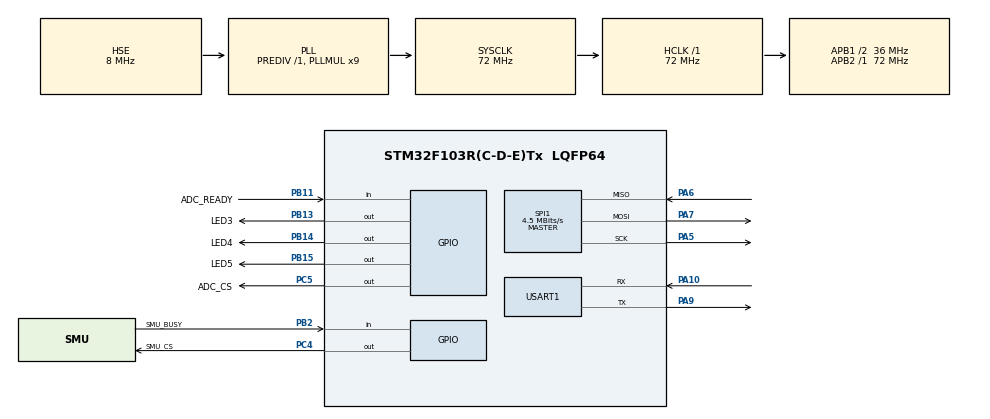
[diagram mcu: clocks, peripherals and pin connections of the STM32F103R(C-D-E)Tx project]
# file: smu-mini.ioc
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Dma.Request0=USART1_RX
Dma.USART1_RX.0.Direction=DMA_PERIPH_TO_MEMORY
Dma.USART1_RX.0.Instance=DMA1_Channel5
Dma.USART1_RX.0.MemDataAlignment=DMA_MDATAALIGN_BYTE
Dma.USART1_RX.0.MemInc=DMA_MINC_ENABLE
Dma.USART1_RX.0.Mode=DMA_CIRCULAR
Dma.USART1_RX.0.PeriphDataAlignment=DMA_PDATAALIGN_BYTE
Dma.USART1_RX.0.PeriphInc=DMA_PINC_DISABLE
Dma.USART1_RX.0.Priority=DMA_PRIORITY_LOW
FREERTOS.Tasks01=defaultTask,24,128,StartDefaultTask,Default,NULL,Dynamic,NULL,NULL;myTask01,8,128,StartTask01,Default,NULL,Dynamic,NULL,NULL
Mcu.Family=STM32F1
Mcu.Name=STM32F103R(C-D-E)Tx
Mcu.Package=LQFP64
NVIC.DMA1_Channel5_IRQn=true\:5\:0\:false\:false\:true\:true\:false\:true\:true
NVIC.PriorityGroup=NVIC_PRIORITYGROUP_4
NVIC.TIM7_IRQn=true\:15\:0\:false\:false\:true\:false\:false\:true\:true
NVIC.TimeBase=TIM7_IRQn
NVIC.TimeBaseIP=TIM7
NVIC.USART1_IRQn=true\:5\:0\:false\:false\:true\:true\:true\:true\:true
PA10.Mode=Asynchronous
PA10.Signal=USART1_RX
PA13.Mode=Serial_Wire
PA13.Signal=SYS_JTMS-SWDIO
PA14.Mode=Serial_Wire
PA14.Signal=SYS_JTCK-SWCLK
PA5.Mode=Full_Duplex_Master
PA5.Signal=SPI1_SCK
PA6.Mode=Full_Duplex_Master
PA6.Signal=SPI1_MISO
PA7.Mode=Full_Duplex_Master
PA7.Signal=SPI1_MOSI
PA9.Mode=Asynchronous
PA9.Signal=USART1_TX
PB11.GPIO_Label=ADC_READY
PB11.Signal=GPIO_Input
PB13.GPIO_Label=LED3
PB13.Signal=GPIO_Output
PB14.GPIO_Label=LED4
PB14.Signal=GPIO_Output
PB15.GPIO_Label=LED5
PB15.Signal=GPIO_Output
PB2.GPIO_Label=SMU_BUSY
PB2.Signal=GPIO_Input
PC4.GPIO_Label=SMU_CS
PC4.Signal=GPIO_Output
PC5.GPIO_Label=ADC_CS
PC5.Signal=GPIO_Output
PD0-OSC_IN.Mode=HSE-External-Oscillator
PD0-OSC_IN.Signal=RCC_OSC_IN
PD1-OSC_OUT.Mode=HSE-External-Oscillator
PD1-OSC_OUT.Signal=RCC_OSC_OUT
ProjectManager.HeapSize=0x200
ProjectManager.StackSize=0x400
ProjectManager.TargetToolchain=CMake
RCC.AHBFreq_Value=72000000
RCC.APB1CLKDivider=RCC_HCLK_DIV2
RCC.APB1Freq_Value=36000000
RCC.APB1TimFreq_Value=72000000
RCC.APB2Freq_Value=72000000
RCC.APB2TimFreq_Value=72000000
RCC.HCLKFreq_Value=72000000
RCC.PLLMUL=RCC_PLL_MUL9
RCC.PLLSourceVirtual=RCC_PLLSOURCE_HSE
RCC.SYSCLKFreq_VALUE=72000000
RCC.SYSCLKSource=RCC_SYSCLKSOURCE_PLLCLK
RCC.USBFreq_Value=72000000
SPI1.BaudRatePrescaler=SPI_BAUDRATEPRESCALER_16
SPI1.CLKPhase=SPI_PHASE_2EDGE
SPI1.CalculateBaudRate=4.5 MBits/s
SPI1.Direction=SPI_DIRECTION_2LINES
SPI1.Mode=SPI_MODE_MASTER
SPI1.VirtualType=VM_MASTER
USART1.VirtualMode=VM_ASYNC
VP_FREERTOS_VS_CMSIS_V2.Mode=CMSIS_V2
VP_SYS_VS_tim7.Mode=TIM7
board=custom

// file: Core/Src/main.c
/* USER CODE BEGIN Header */
/**
  ******************************************************************************
  * @file           : main.c
  * @brief          : Main program body
  ******************************************************************************
  * @attention
  *
  * Copyright (c) 2025 STMicroelectronics.
  * All rights reserved.
  *
  * This software is licensed under terms that can be found in the LICENSE file
  * in the root directory of this software component.
  * If no LICENSE file comes with this software, it is provided AS-IS.
  *
  ******************************************************************************
  */
/* USER CODE END Header */
#include "main.h"
#include "cmsis_os.h"

/* USER CODE BEGIN Includes */
#include <stdio.h>
#include "semphr.h"
#include "AD5522.h"
#include "ad7190.h"
#include "dev_uart.h"
#include "scpi/scpi.h"
#include "scpi-def.h"
/* USER CODE END Includes */

/* USER CODE BEGIN PD */
#define UART_BUF_SIZE 256
/* USER CODE END PD */

SPI_HandleTypeDef hspi1;

UART_HandleTypeDef huart1;
DMA_HandleTypeDef hdma_usart1_rx;

/* Definitions for defaultTask */
osThreadId_t defaultTaskHandle;
const osThreadAttr_t defaultTask_attributes = {
  .name = "defaultTask",
  .stack_size = 512 * 4,
  .priority = (osPriority_t) osPriorityNormal,
};
/* Definitions for myTask01 */
osThreadId_t myTask01Handle;
const osThreadAttr_t myTask01_attributes = {
  .name = "myTask01",
  .stack_size = 128 * 4,
  .priority = (osPriority_t) osPriorityLow,
};
/* USER CODE BEGIN PV */
SemaphoreHandle_t semaphore_scpi;
SemaphoreHandle_t semaphore_spi1;

static void AD7190_SPI1_Init(void)
{
  hspi1.Instance = SPI1;
  hspi1.Init.Mode = SPI_MODE_MASTER;
  hspi1.Init.Direction = SPI_DIRECTION_2LINES;
  hspi1.Init.DataSize = SPI_DATASIZE_8BIT;
  hspi1.Init.CLKPolarity = SPI_POLARITY_HIGH;
  hspi1.Init.CLKPhase = SPI_PHASE_2EDGE;
  hspi1.Init.NSS = SPI_NSS_SOFT;
  hspi1.Init.BaudRatePrescaler = SPI_BAUDRATEPRESCALER_16;
  hspi1.Init.FirstBit = SPI_FIRSTBIT_MSB;
  hspi1.Init.TIMode = SPI_TIMODE_DISABLE;
  hspi1.Init.CRCCalculation = SPI_CRCCALCULATION_DISABLE;
  hspi1.Init.CRCPolynomial = 10;
  if (HAL_SPI_Init(&hspi1) != HAL_OK)
  {
    Error_Handler();
  }
}
/* USER CODE END PV */

void SystemClock_Config(void);
static void MX_GPIO_Init(void);
static void MX_DMA_Init(void);
static void MX_SPI1_Init(void);
static void MX_USART1_UART_Init(void);
void StartDefaultTask(void *argument);
void StartTask01(void *argument);

/* USER CODE BEGIN PFP */
#ifdef __GNUC__
#define PUTCHAR_PROTOTYPE int __io_putchar(int ch)
#else
#define PUTCHAR_PROTOTYPE int fputc(int ch, FILE *f)
#endif

PUTCHAR_PROTOTYPE
{
  // HAL_UART_Transmit(&huart1, (uint8_t *)&ch, 1, HAL_MAX_DELAY);
  return ch;
}

handle_AD5522 h_PMU;
void AD5522_in(void) {
  xSemaphoreTake(semaphore_spi1, portMAX_DELAY);
  HAL_SPI_DeInit(&hspi1);
  MX_SPI1_Init();
}
void AD5522_out(void) {
  xSemaphoreGive(semaphore_spi1);
}

// 将 clk 的电平切换到 High
void SPI_Send_Nop() {
  const uint8_t nop_data = 0;
  HAL_SPI_Transmit(&hspi1, &nop_data, 1, 1000);
}
void AD7190_CS_Low() {
  HAL_GPIO_WritePin(ADC_CS_GPIO_Port, ADC_CS_Pin, GPIO_PIN_RESET);
}
void AD7190_CS_High() {
  HAL_GPIO_WritePin(ADC_CS_GPIO_Port, ADC_CS_Pin, GPIO_PIN_SET);
}
void AD7190_Spi_WriteByte(uint8_t cmd) {
  HAL_SPI_Transmit(&hspi1, &cmd,1,1000);
}
uint8_t AD7190_Spi_ReadByte() {
  uint8_t val=0;
  int resp = HAL_SPI_TransmitReceive(&hspi1, 0x00, &val,1,1000);
  if (resp != HAL_OK) {
    return 0;
  }
  return val;
}
void AD7190_Spi_Write(uint8_t* cmd, uint16_t len){
  HAL_SPI_Transmit(&hspi1, cmd, len, 1000);
}
void AD7190_Spi_Read(uint8_t* cmd, uint16_t len) {
  for (int i=0;i<len;i++) {
    uint8_t send = cmd[i];
    uint8_t read = 0;
    int resp = HAL_SPI_TransmitReceive(&hspi1, &send, &read, 1, 1000);
    if (resp != HAL_OK) {
      return;
    }
    cmd[i] = read;
  }
}
bool AD7190_CheckDataReadyPin(void) {
  return HAL_GPIO_ReadPin(ADC_READY_GPIO_Port, ADC_READY_Pin);
}
void AD7190_Delay_ms(uint32_t ms) {
  osDelay(ms);
}
AD7190_SpiDriver_Typedef h_ad7190 = {
  .AD7190_CS_Low = AD7190_CS_Low,
  .AD7190_CS_High = AD7190_CS_High,
  .AD7190_Spi_WriteByte = AD7190_Spi_WriteByte,
  .AD7190_Spi_ReadByte = AD7190_Spi_ReadByte,
  .AD7190_Spi_Write = AD7190_Spi_Write,
  .AD7190_Spi_Read = AD7190_Spi_Read,
  .AD7190_CheckDataReadyPin = AD7190_CheckDataReadyPin,
  .AD7190_Delay_ms = AD7190_Delay_ms
};
uint32_t ad7190_val[4];

uint8_t uart1_tx_buf[UART_BUF_SIZE];
uint8_t uart1_rx_buf[UART_BUF_SIZE];

void HAL_UARTEx_RxEventCallback(UART_HandleTypeDef *huart, uint16_t Size) {
  if (huart->Instance == USART1) {
    if (HAL_UART_RXEVENT_TC == HAL_UARTEx_GetRxEventType(&huart1)) {
      // sprintf(uart1_tx_buf, "rx_event_tc%d", Size);
      // HAL_UART_Transmit(&huart1, (uint8_t *)uart1_tx_buf, strlen(uart1_tx_buf)+1, 100);
      uart_dmarx_done_isr(DEV_UART1);
    } else if (HAL_UART_RXEVENT_HT == HAL_UARTEx_GetRxEventType(&huart1)) {
      // sprintf(uart1_tx_buf, "rx_event_ht%d", Size);
      // HAL_UART_Transmit(&huart1, (uint8_t *)uart1_tx_buf, strlen(uart1_tx_buf)+1, 100);
      uart_dmarx_half_done_isr(DEV_UART1, Size);
    } else if (HAL_UART_RXEVENT_IDLE == HAL_UARTEx_GetRxEventType(&huart1)) {
      // sprintf(uart1_tx_buf, "rx_event_idle%d", Size);
      // HAL_UART_Transmit(&huart1, (uint8_t *)uart1_tx_buf, strlen(uart1_tx_buf)+1, 100);
      uart_dmarx_idle_isr(DEV_UART1, Size);
    }
  }
}

size_t SCPI_Write(scpi_t * context, const char * data, size_t len) {
    (void) context;
    if (HAL_OK == HAL_UART_Transmit(&huart1, (uint8_t *)data, len, 1000)) {
      return len;
    } else {
      return 0;
    }
}

scpi_result_t SCPI_Flush(scpi_t * context) {
    (void) context;
    return SCPI_RES_OK;
}

int SCPI_Error(scpi_t * context, int_fast16_t err) {
    (void) context;

    char _err[50];
    sprintf(_err, "**ERROR: %d, \"%s\"\r\n", (int16_t) err, SCPI_ErrorTranslate(err));
    HAL_UART_Transmit(&huart1, (uint8_t *)_err, strlen(_err), 1000);
    return 0;
}

scpi_result_t SCPI_Control(scpi_t * context, scpi_ctrl_name_t ctrl, scpi_reg_val_t val) {
    (void) context;

    char _err[50];
    if (SCPI_CTRL_SRQ == ctrl) {
        sprintf(_err, "**SRQ: 0x%X (%d)\r\n", val, val);
    } else {
        sprintf(_err, "**CTRL %02x: 0x%X (%d)\r\n", ctrl, val, val);
    }
    HAL_UART_Transmit(&huart1, (uint8_t *)_err, strlen(_err), 1000);

    return SCPI_RES_OK;
}

scpi_result_t SCPI_Reset(scpi_t * context) {
    (void) context;

    char _err[50];
    sprintf(_err, "**Reset\r\n");
    HAL_UART_Transmit(&huart1, (uint8_t *)_err, strlen(_err), 1000);

    return SCPI_RES_OK;
}

scpi_result_t SCPI_SystemCommTcpipControlQ(scpi_t * context) {
    (void) context;

    return SCPI_RES_ERR;
}
/* USER CODE END PFP */

int main(void)
{

  /* USER CODE BEGIN 1 */
  semaphore_scpi = xSemaphoreCreateMutex();
  semaphore_spi1 = xSemaphoreCreateMutex();
  /* USER CODE END 1 */

  /* MCU Configuration--------------------------------------------------------*/

  /* Reset of all peripherals, Initializes the Flash interface and the Systick. */
  HAL_Init();

  /* Configure the system clock */
  SystemClock_Config();

  /* Initialize all configured peripherals */
  MX_GPIO_Init();
  MX_DMA_Init();
  MX_SPI1_Init();
  MX_USART1_UART_Init();
  /* USER CODE BEGIN 2 */
  uart_device_init(DEV_UART1);
  printf("Characters: %c %c\n", 'a', 65);
  printf("Decimals: %d %ld\n", 1977, 650000L);
  printf("Preceding with blanks: %10d\n", 1977);
  printf("Preceding with zeros: %010d\n", 1977);
  printf("Some different radices: %d %x %o %#x %#o\n", 100, 100, 100, 100, 100);
  printf("floats: %4.2f %+.0e %E\n", 3.1416, 3.1416, 3.1416);
  printf("Width trick: %*d\n", 5, 10);
  printf("%s\n", "A string");

  //----------------------------AD5522 Init-----------------------------
  HAL_SPI_DeInit(&hspi1);
  MX_SPI1_Init();
  AD5522_init(&h_PMU,&hspi1,5.0);
  AD5522_Calibrate(&h_PMU);
  AD5522_StartHiZMV(&h_PMU,PMU_CH_1|PMU_CH_2|PMU_CH_3) ;//configure CH2/3 to monitor voltage only
  // AD5522_SetClamp(&h_PMU,PMU_CH_0|PMU_CH_1,32767-30000,32767+30000,0,65535,PMU_DAC_SCALEID_EXT);
  AD5522_SetClamp_float(&h_PMU,PMU_CH_0,-80e-3,80e-3,-11.5,11.5,PMU_DAC_SCALEID_2MA);
  AD5522_StartFVMI(&h_PMU,PMU_CH_0,PMU_DAC_SCALEID_2MA);
  // AD5522_StartFIMV(&h_PMU,PMU_CH_0|PMU_CH_1,PMU_DAC_SCALEID_200UA);
  // AD5522_SetOutputVoltage_float(&h_PMU,PMU_CH_0,-1.2);
  /* USER CODE END 2 */

  /* Init scheduler */
  osKernelInitialize();

  /* Create the thread(s) */
  /* creation of defaultTask */
  defaultTaskHandle = osThreadNew(StartDefaultTask, NULL, &defaultTask_attributes);

  /* creation of myTask01 */
  myTask01Handle = osThreadNew(StartTask01, NULL, &myTask01_attributes);

  /* Start scheduler */
  osKernelStart();

  /* We should never get here as control is now taken by the scheduler */

  /* Infinite loop */
  while (1)
  {

  }
}

void SystemClock_Config(void)
{
  RCC_OscInitTypeDef RCC_OscInitStruct = {0};
  RCC_ClkInitTypeDef RCC_ClkInitStruct = {0};

  /** Initializes the RCC Oscillators according to the specified parameters
  * in the RCC_OscInitTypeDef structure.
  */
  RCC_OscInitStruct.OscillatorType = RCC_OSCILLATORTYPE_HSE;
  RCC_OscInitStruct.HSEState = RCC_HSE_ON;
  RCC_OscInitStruct.HSEPredivValue = RCC_HSE_PREDIV_DIV1;
  RCC_OscInitStruct.HSIState = RCC_HSI_ON;
  RCC_OscInitStruct.PLL.PLLState = RCC_PLL_ON;
  RCC_OscInitStruct.PLL.PLLSource = RCC_PLLSOURCE_HSE;
  RCC_OscInitStruct.PLL.PLLMUL = RCC_PLL_MUL9;
  if (HAL_RCC_OscConfig(&RCC_OscInitStruct) != HAL_OK)
  {
    Error_Handler();
  }

  /** Initializes the CPU, AHB and APB buses clocks
  */
  RCC_ClkInitStruct.ClockType = RCC_CLOCKTYPE_HCLK|RCC_CLOCKTYPE_SYSCLK
                              |RCC_CLOCKTYPE_PCLK1|RCC_CLOCKTYPE_PCLK2;
  RCC_ClkInitStruct.SYSCLKSource = RCC_SYSCLKSOURCE_PLLCLK;
  RCC_ClkInitStruct.AHBCLKDivider = RCC_SYSCLK_DIV1;
  RCC_ClkInitStruct.APB1CLKDivider = RCC_HCLK_DIV2;
  RCC_ClkInitStruct.APB2CLKDivider = RCC_HCLK_DIV1;

  if (HAL_RCC_ClockConfig(&RCC_ClkInitStruct, FLASH_LATENCY_2) != HAL_OK)
  {
    Error_Handler();
  }
}

static void MX_SPI1_Init(void)
{

  /* SPI1 parameter configuration*/
  hspi1.Instance = SPI1;
  hspi1.Init.Mode = SPI_MODE_MASTER;
  hspi1.Init.Direction = SPI_DIRECTION_2LINES;
  hspi1.Init.DataSize = SPI_DATASIZE_8BIT;
  hspi1.Init.CLKPolarity = SPI_POLARITY_LOW;   // 非常重要! AD5522使用LOW; AD7190使用HIGH
  hspi1.Init.CLKPhase = SPI_PHASE_2EDGE;
  hspi1.Init.NSS = SPI_NSS_SOFT;
  hspi1.Init.BaudRatePrescaler = SPI_BAUDRATEPRESCALER_16;
  hspi1.Init.FirstBit = SPI_FIRSTBIT_MSB;
  hspi1.Init.TIMode = SPI_TIMODE_DISABLE;
  hspi1.Init.CRCCalculation = SPI_CRCCALCULATION_DISABLE;
  hspi1.Init.CRCPolynomial = 10;
  if (HAL_SPI_Init(&hspi1) != HAL_OK)
  {
    Error_Handler();
  }

}

static void MX_USART1_UART_Init(void)
{

  huart1.Instance = USART1;
  huart1.Init.BaudRate = 115200;
  huart1.Init.WordLength = UART_WORDLENGTH_8B;
  huart1.Init.StopBits = UART_STOPBITS_1;
  huart1.Init.Parity = UART_PARITY_NONE;
  huart1.Init.Mode = UART_MODE_TX_RX;
  huart1.Init.HwFlowCtl = UART_HWCONTROL_NONE;
  huart1.Init.OverSampling = UART_OVERSAMPLING_16;
  if (HAL_UART_Init(&huart1) != HAL_OK)
  {
    Error_Handler();
  }

}

static void MX_DMA_Init(void)
{

  /* DMA controller clock enable */
  __HAL_RCC_DMA1_CLK_ENABLE();

  /* DMA interrupt init */
  /* DMA1_Channel5_IRQn interrupt configuration */
  HAL_NVIC_SetPriority(DMA1_Channel5_IRQn, 5, 0);
  HAL_NVIC_EnableIRQ(DMA1_Channel5_IRQn);

}

static void MX_GPIO_Init(void)
{
  GPIO_InitTypeDef GPIO_InitStruct = {0};

  /* GPIO Ports Clock Enable */
  __HAL_RCC_GPIOD_CLK_ENABLE();
  __HAL_RCC_GPIOA_CLK_ENABLE();
  __HAL_RCC_GPIOC_CLK_ENABLE();
  __HAL_RCC_GPIOB_CLK_ENABLE();

  /*Configure GPIO pin Output Level */
  HAL_GPIO_WritePin(GPIOC, SMU_CS_Pin|ADC_CS_Pin, GPIO_PIN_RESET);

  /*Configure GPIO pin Output Level */
  HAL_GPIO_WritePin(GPIOB, LED3_Pin|LED4_Pin|LED5_Pin, GPIO_PIN_RESET);

  /*Configure GPIO pins : SMU_CS_Pin ADC_CS_Pin */
  GPIO_InitStruct.Pin = SMU_CS_Pin|ADC_CS_Pin;
  GPIO_InitStruct.Mode = GPIO_MODE_OUTPUT_PP;
  GPIO_InitStruct.Pull = GPIO_NOPULL;
  GPIO_InitStruct.Speed = GPIO_SPEED_FREQ_LOW;
  HAL_GPIO_Init(GPIOC, &GPIO_InitStruct);

  /*Configure GPIO pins : SMU_BUSY_Pin ADC_READY_Pin */
  GPIO_InitStruct.Pin = SMU_BUSY_Pin|ADC_READY_Pin;
  GPIO_InitStruct.Mode = GPIO_MODE_INPUT;
  GPIO_InitStruct.Pull = GPIO_NOPULL;
  HAL_GPIO_Init(GPIOB, &GPIO_InitStruct);

  /*Configure GPIO pins : LED3_Pin LED4_Pin LED5_Pin */
  GPIO_InitStruct.Pin = LED3_Pin|LED4_Pin|LED5_Pin;
  GPIO_InitStruct.Mode = GPIO_MODE_OUTPUT_PP;
  GPIO_InitStruct.Pull = GPIO_NOPULL;
  GPIO_InitStruct.Speed = GPIO_SPEED_FREQ_LOW;
  HAL_GPIO_Init(GPIOB, &GPIO_InitStruct);

}

void StartDefaultTask(void *argument)
{
  /* USER CODE BEGIN 5 */
  uint16_t readsize;
  SCPI_Init(&scpi_context,
      scpi_commands,
      &scpi_interface,
      scpi_units_def,
      SCPI_IDN1, SCPI_IDN2, SCPI_IDN3, SCPI_IDN4,
      scpi_input_buffer, SCPI_INPUT_BUFFER_LENGTH,
      scpi_error_queue_data, SCPI_ERROR_QUEUE_SIZE);
  /* Infinite loop */
  for(;;)
  {
    readsize = uart_read(1, uart1_rx_buf, UART_BUF_SIZE);
    if (readsize) {
      HAL_GPIO_WritePin(GPIOB, LED5_Pin, GPIO_PIN_SET);
      xSemaphoreTake(semaphore_scpi, portMAX_DELAY);
      SCPI_Input(&scpi_context, (const char*)uart1_rx_buf, readsize);
      xSemaphoreGive(semaphore_scpi);
      HAL_GPIO_WritePin(GPIOB, LED5_Pin, GPIO_PIN_RESET);
    }
    osDelay(1);
  }
  /* USER CODE END 5 */
}

void StartTask01(void *argument)
{
  /* USER CODE BEGIN StartTask01 */
  uint8_t adc_buf_channel = 0;
  uint32_t adc_buf_value = 0;

  //----------------------------AD7190 Init-----------------------------
  if (xSemaphoreTake(semaphore_spi1, portMAX_DELAY)) {
    HAL_SPI_DeInit(&hspi1);
    AD7190_SPI1_Init();
    SPI_Send_Nop();

    if (!AD7190_Init(&h_ad7190)) {
      ;  // AD7190 init failed
    }
    AD7190_RangeSetup(&h_ad7190, 1, AD7190_CONF_GAIN_1);  // ADC In unipolar 单极性0-5V
    AD7190_Calibrate(&h_ad7190, AD7190_MODE_CAL_INT_ZERO, AD7190_CH_AIN1P_AINCOM);
    AD7190_Calibrate(&h_ad7190, AD7190_MODE_CAL_INT_FULL, AD7190_CH_AIN1P_AINCOM);
    AD7190_Calibrate(&h_ad7190, AD7190_MODE_CAL_INT_ZERO, AD7190_CH_AIN2P_AINCOM);
    AD7190_Calibrate(&h_ad7190, AD7190_MODE_CAL_INT_FULL, AD7190_CH_AIN2P_AINCOM);
    AD7190_Calibrate(&h_ad7190, AD7190_MODE_CAL_INT_ZERO, AD7190_CH_AIN3P_AINCOM);
    AD7190_Calibrate(&h_ad7190, AD7190_MODE_CAL_INT_FULL, AD7190_CH_AIN3P_AINCOM);
    AD7190_Calibrate(&h_ad7190, AD7190_MODE_CAL_INT_ZERO, AD7190_CH_AIN4P_AINCOM);
    AD7190_Calibrate(&h_ad7190, AD7190_MODE_CAL_INT_FULL, AD7190_CH_AIN4P_AINCOM);
    AD7190_ChannelSelectAll(&h_ad7190);
    AD7190_ContinueMode_StatusAfterData(&h_ad7190);
    AD7190_AutoContinueMode(&h_ad7190, true);
    xSemaphoreGive(semaphore_spi1);
  }
  /* Infinite loop */
  for(;;)
  {
        if (xSemaphoreTake(semaphore_spi1, portMAX_DELAY)) {
      HAL_GPIO_WritePin(GPIOB, LED4_Pin, GPIO_PIN_SET);
      if (hspi1.Init.CLKPolarity != SPI_POLARITY_HIGH) { //减少重复初始化
        HAL_SPI_DeInit(&hspi1);
        AD7190_SPI1_Init();
        SPI_Send_Nop();
      }
      if (AD7190_ReadDataRegister(&h_ad7190, &adc_buf_channel, &adc_buf_value)) {
        ad7190_val[adc_buf_channel] = adc_buf_value;
      }
      xSemaphoreGive(semaphore_spi1);
      HAL_GPIO_WritePin(GPIOB, LED4_Pin, GPIO_PIN_RESET);
    }
    osDelay(12);
  }
  /* USER CODE END StartTask01 */
}

void HAL_TIM_PeriodElapsedCallback(TIM_HandleTypeDef *htim)
{
  if (htim->Instance == TIM7)
  {
    HAL_IncTick();
  }
}

void Error_Handler(void)
{
  __disable_irq();
  while (1)
  {
  }
}
